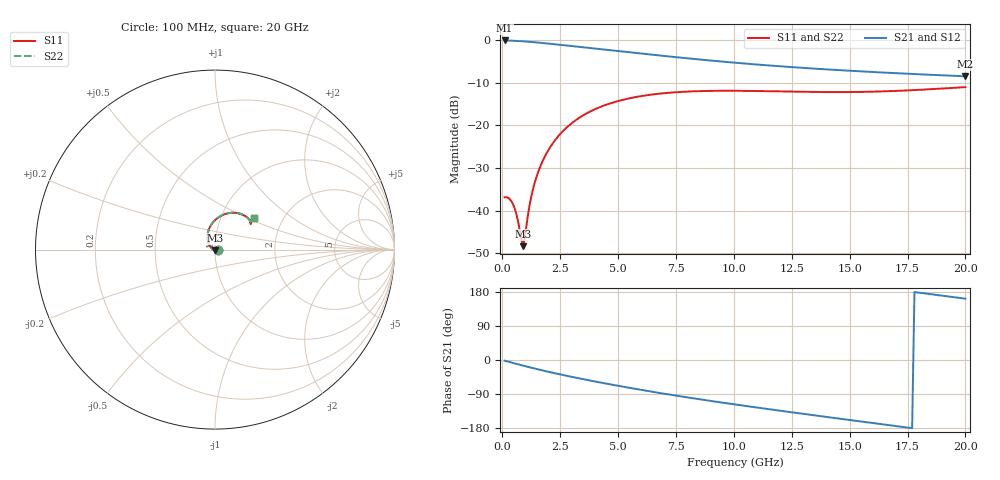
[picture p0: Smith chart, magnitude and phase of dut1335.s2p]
! Touchstone file exported from HFSS 2024.1.0
!  File:  C:/UserFiles/LocalFiles/RDL_TSV_Batchsim/temp_RDL_TSV_1335_1780390366.aedt
!  Generated:  05:06:42 PM Jun  2, 2026
!  Design:  RDL_TSV
!  Project:  temp_RDL_TSV_1335_1780390366
!  Setup:  Setup1
!  Solution:  Sweep
! Variables:
!  dtsv = 11.69um
!  hbump = 3um
!  htsv = 67.18um
!  ldown = 350.48um
!  lrdl = 457.34um
!  p = 40
!  p1 = 43.36um
!  rhole = 10um
!  subl = 2880.8um
!  t = 450um
!  tdown = 4.89um
!  trdl = 2.95um
!  viad = 10um
!  wdown = 21.97um
!  wrdl = 21.33um
!  xbump = 18um
# GHz S MA R 50.000000
! Terminal data exported
! Port[1] = TM1_1_T1
! Port[2] = TM1_4_T1
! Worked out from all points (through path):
!   200 points, 100 MHz to 20 GHz, reference 50 ohm
!   highest |S21| = -0.13 dB at 100 MHz (marker M1); lowest = -8.5 dB at 20 GHz (marker M2)
!   group delay of S21, straight-line fit = 26.1 ps
!   lowest |S11| = -48.3 dB at 900 MHz (marker M3), VSWR 1.01, Z = 49.9 - j0.358 ohm
!   |S11| at or under -10 dB: start of sweep to end of sweep
!   |S22| runs from -48.3 to -11.1 dB; largest |S21 - S12| = 1e-14
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0.1  0.01434 -1.5  0.9851 -1.7  0.9851 -1.7  0.01434 -1.5
! Gamma 0 0 0 0
! Port Impedance 50 0 50 0
0.3  0.01385 -9.3  0.9816 -5.1  0.9816 -5.1  0.01386 -9.3
0.5  0.01128 -21.6  0.9764 -8.5  0.9764 -8.5  0.01127 -21.7
0.6  0.009323 -30.1  0.9733 -10.1  0.9733 -10.1  0.009316 -30.1
0.7  0.007088 -42.3  0.9699 -11.7  0.9699 -11.7  0.007082 -42.5
0.8  0.004889 -64.8  0.9662 -13.3  0.9662 -13.3  0.004886 -65.0
0.9  0.003832 -110.3  0.9622 -14.9  0.9622 -14.9  0.00384 -110.6
1.2  0.01248 171.2  0.9485 -19.6  0.9485 -19.6  0.0125 171.2
1.3  0.01672 163.5  0.9435 -21.1  0.9435 -21.1  0.01674 163.5
1.5  0.02595 152.9  0.933 -24.1  0.933 -24.1  0.02597 152.9
1.7  0.03591 145.0  0.9219 -27.0  0.9219 -27.0  0.03593 145.0
2  0.0517 135.4  0.9048 -31.2  0.9048 -31.2  0.05173 135.4
2.4  0.0735 124.7  0.8816 -36.7  0.8816 -36.7  0.07353 124.7
2.9  0.1005 113.4  0.8527 -43.2  0.8527 -43.2  0.1006 113.4
3.5  0.1311 101.9  0.819 -50.7  0.819 -50.7  0.1311 101.9
4.9  0.1888 80.8  0.745 -67.0  0.745 -67.0  0.1888 80.8
6.8  0.2347 60.8  0.6563 -87.0  0.6563 -87.0  0.2347 60.8
8.4  0.2506 49.4  0.5936 -102.5  0.5936 -102.5  0.2505 49.4
10.1  0.2534 41.4  0.5389 -117.7  0.5389 -117.7  0.2533 41.5
13.4  0.2454 35.7  0.4621 -145.4  0.4621 -145.4  0.2452 35.8
16.7  0.2508 37.6  0.4112 -171.9  0.4112 -171.9  0.2507 37.8
20  0.2799 39.4  0.3745 161.8  0.3745 161.8  0.2802 39.6
